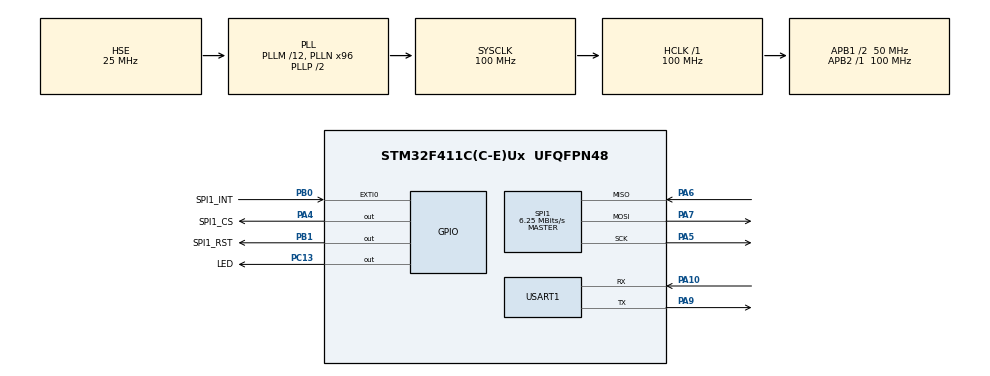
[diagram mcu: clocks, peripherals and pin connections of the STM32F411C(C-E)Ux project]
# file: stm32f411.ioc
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Mcu.Family=STM32F4
Mcu.Name=STM32F411C(C-E)Ux
Mcu.Package=UFQFPN48
NVIC.EXTI0_IRQn=true\:0\:0\:false\:false\:true\:true\:true\:true
NVIC.PriorityGroup=NVIC_PRIORITYGROUP_4
PA10.Mode=Asynchronous
PA10.Signal=USART1_RX
PA13.Mode=Serial_Wire
PA13.Signal=SYS_JTMS-SWDIO
PA14.Mode=Serial_Wire
PA14.Signal=SYS_JTCK-SWCLK
PA4.GPIO_Label=SPI1_CS
PA4.PinState=GPIO_PIN_SET
PA4.Signal=GPIO_Output
PA5.Mode=Full_Duplex_Master
PA5.Signal=SPI1_SCK
PA6.Mode=Full_Duplex_Master
PA6.Signal=SPI1_MISO
PA7.Mode=Full_Duplex_Master
PA7.Signal=SPI1_MOSI
PA9.Mode=Asynchronous
PA9.Signal=USART1_TX
PB0.GPIO_Label=SPI1_INT
PB0.GPIO_ModeDefaultEXTI=GPIO_MODE_IT_RISING_FALLING
PB0.Signal=GPXTI0
PB1.GPIO_Label=SPI1_RST
PB1.PinState=GPIO_PIN_SET
PB1.Signal=GPIO_Output
PC13-ANTI_TAMP.GPIO_Label=LED
PC13-ANTI_TAMP.GPIO_ModeDefaultOutputPP=GPIO_MODE_OUTPUT_OD
PC13-ANTI_TAMP.GPIO_PuPd=GPIO_NOPULL
PC13-ANTI_TAMP.PinState=GPIO_PIN_SET
PC13-ANTI_TAMP.Signal=GPIO_Output
PH0\ -\ OSC_IN.Mode=HSE-External-Oscillator
PH0\ -\ OSC_IN.Signal=RCC_OSC_IN
PH1\ -\ OSC_OUT.Mode=HSE-External-Oscillator
PH1\ -\ OSC_OUT.Signal=RCC_OSC_OUT
ProjectManager.HeapSize=0x200
ProjectManager.StackSize=0x400
ProjectManager.TargetToolchain=STM32CubeIDE
RCC.48MHZClocksFreq_Value=50000000
RCC.AHBFreq_Value=100000000
RCC.APB1CLKDivider=RCC_HCLK_DIV2
RCC.APB1Freq_Value=50000000
RCC.APB1TimFreq_Value=100000000
RCC.APB2Freq_Value=100000000
RCC.APB2TimFreq_Value=100000000
RCC.CortexFreq_Value=100000000
RCC.HCLKFreq_Value=100000000
RCC.HSE_VALUE=25000000
RCC.HSI_VALUE=16000000
RCC.LSE_VALUE=32768
RCC.PLLM=12
RCC.PLLN=96
RCC.PLLSourceVirtual=RCC_PLLSOURCE_HSE
RCC.SYSCLKFreq_VALUE=100000000
RCC.SYSCLKSource=RCC_SYSCLKSOURCE_PLLCLK
RCC.VCOOutputFreq_Value=200000000
SPI1.BaudRatePrescaler=SPI_BAUDRATEPRESCALER_16
SPI1.CalculateBaudRate=6.25 MBits/s
SPI1.Direction=SPI_DIRECTION_2LINES
SPI1.Mode=SPI_MODE_MASTER
SPI1.VirtualType=VM_MASTER
USART1.VirtualMode=VM_ASYNC
board=custom

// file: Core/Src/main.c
/* USER CODE BEGIN Header */
/**
 ******************************************************************************
 * @file           : main.c
 * @brief          : Main program body
 ******************************************************************************
 * @attention
 *
 * Copyright (c) 2022 STMicroelectronics.
 * All rights reserved.
 *
 * This software is licensed under terms that can be found in the LICENSE file
 * in the root directory of this software component.
 * If no LICENSE file comes with this software, it is provided AS-IS.
 *
 ******************************************************************************
 */
/* USER CODE END Header */
#include "main.h"

/* USER CODE BEGIN Includes */
#include <stdio.h>
#include "mfrc522.h"
/* USER CODE END Includes */

SPI_HandleTypeDef hspi1;

UART_HandleTypeDef huart1;

/* USER CODE BEGIN PV */
MFRC522_HandleTypeDef mfrc522;
/* USER CODE END PV */

void SystemClock_Config(void);
static void MX_GPIO_Init(void);
static void MX_SPI1_Init(void);
static void MX_USART1_UART_Init(void);

/* USER CODE BEGIN 0 */

// Send printf to uart1
int _write(int fd, char *ptr, int len) {
    HAL_StatusTypeDef hstatus;

    if (fd == 1 || fd == 2) {
        hstatus = HAL_UART_Transmit(&huart1, (uint8_t*) ptr, len, HAL_MAX_DELAY);
        if (hstatus == HAL_OK)
            return len;
        else
            return -1;
    }
    return -1;
}

void HAL_GPIO_EXTI_Callback(uint16_t GPIO_Pin) {
    if (GPIO_Pin == SPI1_INT_Pin) // Interrupt from device
    {
        DBG("Interrupt");
    }
}

/* USER CODE END 0 */

int main(void)
{

  /* MCU Configuration--------------------------------------------------------*/

  /* Reset of all peripherals, Initializes the Flash interface and the Systick. */
  HAL_Init();

  /* Configure the system clock */
  SystemClock_Config();

  /* Initialize all configured peripherals */
  MX_GPIO_Init();
  MX_SPI1_Init();
  MX_USART1_UART_Init();
  /* USER CODE BEGIN 2 */

    DBG("\n-------------------\nStarting...");

    if (mfrc522_init(&mfrc522, &hspi1, SPI1_CS_GPIO_Port, SPI1_CS_Pin) != MFRC522_Ok) {
        DBG("MFRC522 failed to initialize");
        Error_Handler();
    };

    DBG("MFRC522 has been initialized");

  /* USER CODE END 2 */

  /* Infinite loop */
  /* USER CODE BEGIN WHILE */

    uint32_t now = 0, last_blink = 0;

    while (1) {

    	now = HAL_GetTick();

    	if (now - last_blink >= 500) {

    		HAL_GPIO_TogglePin(LED_GPIO_Port, LED_Pin);

    		last_blink = now;

    	}

    /* USER CODE END WHILE */

    }
}

void SystemClock_Config(void)
{
  RCC_OscInitTypeDef RCC_OscInitStruct = {0};
  RCC_ClkInitTypeDef RCC_ClkInitStruct = {0};

  /** Configure the main internal regulator output voltage
  */
  __HAL_RCC_PWR_CLK_ENABLE();
  __HAL_PWR_VOLTAGESCALING_CONFIG(PWR_REGULATOR_VOLTAGE_SCALE1);

  /** Initializes the RCC Oscillators according to the specified parameters
  * in the RCC_OscInitTypeDef structure.
  */
  RCC_OscInitStruct.OscillatorType = RCC_OSCILLATORTYPE_HSE;
  RCC_OscInitStruct.HSEState = RCC_HSE_ON;
  RCC_OscInitStruct.PLL.PLLState = RCC_PLL_ON;
  RCC_OscInitStruct.PLL.PLLSource = RCC_PLLSOURCE_HSE;
  RCC_OscInitStruct.PLL.PLLM = 12;
  RCC_OscInitStruct.PLL.PLLN = 96;
  RCC_OscInitStruct.PLL.PLLP = RCC_PLLP_DIV2;
  RCC_OscInitStruct.PLL.PLLQ = 4;
  if (HAL_RCC_OscConfig(&RCC_OscInitStruct) != HAL_OK)
  {
    Error_Handler();
  }

  /** Initializes the CPU, AHB and APB buses clocks
  */
  RCC_ClkInitStruct.ClockType = RCC_CLOCKTYPE_HCLK|RCC_CLOCKTYPE_SYSCLK
                              |RCC_CLOCKTYPE_PCLK1|RCC_CLOCKTYPE_PCLK2;
  RCC_ClkInitStruct.SYSCLKSource = RCC_SYSCLKSOURCE_PLLCLK;
  RCC_ClkInitStruct.AHBCLKDivider = RCC_SYSCLK_DIV1;
  RCC_ClkInitStruct.APB1CLKDivider = RCC_HCLK_DIV2;
  RCC_ClkInitStruct.APB2CLKDivider = RCC_HCLK_DIV1;

  if (HAL_RCC_ClockConfig(&RCC_ClkInitStruct, FLASH_LATENCY_3) != HAL_OK)
  {
    Error_Handler();
  }
}

static void MX_SPI1_Init(void)
{

  /* SPI1 parameter configuration*/
  hspi1.Instance = SPI1;
  hspi1.Init.Mode = SPI_MODE_MASTER;
  hspi1.Init.Direction = SPI_DIRECTION_2LINES;
  hspi1.Init.DataSize = SPI_DATASIZE_8BIT;
  hspi1.Init.CLKPolarity = SPI_POLARITY_LOW;
  hspi1.Init.CLKPhase = SPI_PHASE_1EDGE;
  hspi1.Init.NSS = SPI_NSS_SOFT;
  hspi1.Init.BaudRatePrescaler = SPI_BAUDRATEPRESCALER_16;
  hspi1.Init.FirstBit = SPI_FIRSTBIT_MSB;
  hspi1.Init.TIMode = SPI_TIMODE_DISABLE;
  hspi1.Init.CRCCalculation = SPI_CRCCALCULATION_DISABLE;
  hspi1.Init.CRCPolynomial = 10;
  if (HAL_SPI_Init(&hspi1) != HAL_OK)
  {
    Error_Handler();
  }

}

static void MX_USART1_UART_Init(void)
{

  huart1.Instance = USART1;
  huart1.Init.BaudRate = 115200;
  huart1.Init.WordLength = UART_WORDLENGTH_8B;
  huart1.Init.StopBits = UART_STOPBITS_1;
  huart1.Init.Parity = UART_PARITY_NONE;
  huart1.Init.Mode = UART_MODE_TX_RX;
  huart1.Init.HwFlowCtl = UART_HWCONTROL_NONE;
  huart1.Init.OverSampling = UART_OVERSAMPLING_16;
  if (HAL_UART_Init(&huart1) != HAL_OK)
  {
    Error_Handler();
  }

}

static void MX_GPIO_Init(void)
{
  GPIO_InitTypeDef GPIO_InitStruct = {0};

  /* GPIO Ports Clock Enable */
  __HAL_RCC_GPIOC_CLK_ENABLE();
  __HAL_RCC_GPIOH_CLK_ENABLE();
  __HAL_RCC_GPIOA_CLK_ENABLE();
  __HAL_RCC_GPIOB_CLK_ENABLE();

  /*Configure GPIO pin Output Level */
  HAL_GPIO_WritePin(LED_GPIO_Port, LED_Pin, GPIO_PIN_SET);

  /*Configure GPIO pin Output Level */
  HAL_GPIO_WritePin(SPI1_CS_GPIO_Port, SPI1_CS_Pin, GPIO_PIN_SET);

  /*Configure GPIO pin Output Level */
  HAL_GPIO_WritePin(SPI1_RST_GPIO_Port, SPI1_RST_Pin, GPIO_PIN_SET);

  /*Configure GPIO pin : LED_Pin */
  GPIO_InitStruct.Pin = LED_Pin;
  GPIO_InitStruct.Mode = GPIO_MODE_OUTPUT_OD;
  GPIO_InitStruct.Pull = GPIO_NOPULL;
  GPIO_InitStruct.Speed = GPIO_SPEED_FREQ_LOW;
  HAL_GPIO_Init(LED_GPIO_Port, &GPIO_InitStruct);

  /*Configure GPIO pin : SPI1_CS_Pin */
  GPIO_InitStruct.Pin = SPI1_CS_Pin;
  GPIO_InitStruct.Mode = GPIO_MODE_OUTPUT_PP;
  GPIO_InitStruct.Pull = GPIO_NOPULL;
  GPIO_InitStruct.Speed = GPIO_SPEED_FREQ_LOW;
  HAL_GPIO_Init(SPI1_CS_GPIO_Port, &GPIO_InitStruct);

  /*Configure GPIO pin : SPI1_INT_Pin */
  GPIO_InitStruct.Pin = SPI1_INT_Pin;
  GPIO_InitStruct.Mode = GPIO_MODE_IT_RISING_FALLING;
  GPIO_InitStruct.Pull = GPIO_NOPULL;
  HAL_GPIO_Init(SPI1_INT_GPIO_Port, &GPIO_InitStruct);

  /*Configure GPIO pin : SPI1_RST_Pin */
  GPIO_InitStruct.Pin = SPI1_RST_Pin;
  GPIO_InitStruct.Mode = GPIO_MODE_OUTPUT_PP;
  GPIO_InitStruct.Pull = GPIO_NOPULL;
  GPIO_InitStruct.Speed = GPIO_SPEED_FREQ_LOW;
  HAL_GPIO_Init(SPI1_RST_GPIO_Port, &GPIO_InitStruct);

  /* EXTI interrupt init*/
  HAL_NVIC_SetPriority(EXTI0_IRQn, 0, 0);
  HAL_NVIC_EnableIRQ(EXTI0_IRQn);

}

void Error_Handler(void)
{
    __disable_irq();
    while (1) {
    }
}
